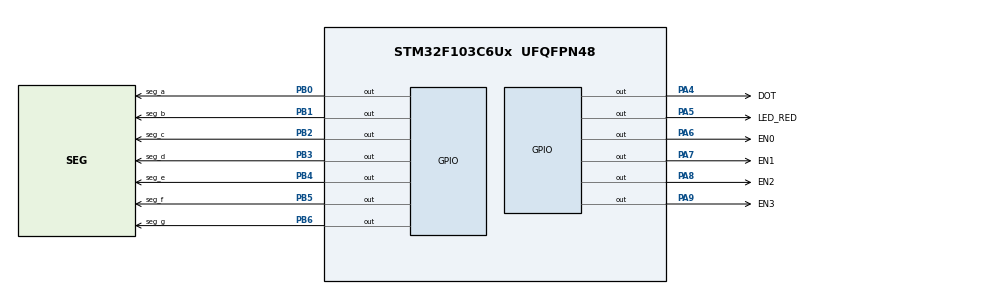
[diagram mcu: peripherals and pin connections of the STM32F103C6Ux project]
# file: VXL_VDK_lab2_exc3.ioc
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Mcu.Family=STM32F1
Mcu.Name=STM32F103C6Ux
Mcu.Package=UFQFPN48
NVIC.PriorityGroup=NVIC_PRIORITYGROUP_4
NVIC.TIM2_IRQn=true\:0\:0\:false\:false\:true\:true\:true\:true
PA4.GPIO_Label=DOT
PA4.Signal=GPIO_Output
PA5.GPIO_Label=LED_RED
PA5.Signal=GPIO_Output
PA6.GPIO_Label=EN0
PA6.Signal=GPIO_Output
PA7.GPIO_Label=EN1
PA7.Signal=GPIO_Output
PA8.GPIO_Label=EN2
PA8.Signal=GPIO_Output
PA9.GPIO_Label=EN3
PA9.Signal=GPIO_Output
PB0.GPIO_Label=seg_a
PB0.Signal=GPIO_Output
PB1.GPIO_Label=seg_b
PB1.Signal=GPIO_Output
PB2.GPIO_Label=seg_c
PB2.Signal=GPIO_Output
PB3.GPIO_Label=seg_d
PB3.Signal=GPIO_Output
PB4.GPIO_Label=seg_e
PB4.Signal=GPIO_Output
PB5.GPIO_Label=seg_f
PB5.Signal=GPIO_Output
PB6.GPIO_Label=seg_g
PB6.Signal=GPIO_Output
ProjectManager.HeapSize=0x200
ProjectManager.StackSize=0x400
ProjectManager.TargetToolchain=STM32CubeIDE
RCC.APB1Freq_Value=8000000
RCC.APB2Freq_Value=8000000
TIM2.Period=9
TIM2.Prescaler=7999
VP_SYS_VS_ND.Mode=No_Debug
VP_TIM2_VS_ClockSourceINT.Mode=Internal
board=custom

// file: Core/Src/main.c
/* USER CODE BEGIN Header */
/**
  ******************************************************************************
  * @file           : main.c
  * @brief          : Main program body
  ******************************************************************************
  * @attention
  *
  * Copyright (c) 2025 STMicroelectronics.
  * All rights reserved.
  *
  * This software is licensed under terms that can be found in the LICENSE file
  * in the root directory of this software component.
  * If no LICENSE file comes with this software, it is provided AS-IS.
  *
  ******************************************************************************
  */
/* USER CODE END Header */
#include "main.h"
#include "tim.h"
#include "gpio.h"

void SystemClock_Config(void);

/* USER CODE BEGIN 0 */

int led_buffer[4] = {0, 0, 0, 0};
uint8_t led7_table[10][7] =    {{0,0,0,0,0,0,1},
								{1,0,0,1,1,1,1},
								{0,0,1,0,0,1,0},
								{0,0,0,0,1,1,0},
								{1,0,0,1,1,0,0},
								{0,1,0,0,1,0,0},
								{0,1,0,0,0,0,0},
								{0,0,0,1,1,1,1},
								{0,0,0,0,0,0,0},
								{0,0,0,0,1,0,0}};
uint16_t EN_PIN[4] = {
    EN0_Pin,
    EN1_Pin,
    EN2_Pin,
    EN3_Pin,
};
void display7SEG(int num,int led){
	HAL_GPIO_WritePin(EN0_GPIO_Port, EN_PIN[0], SET);
	HAL_GPIO_WritePin(EN0_GPIO_Port, EN_PIN[1], SET);
	HAL_GPIO_WritePin(EN0_GPIO_Port, EN_PIN[2], SET);
	HAL_GPIO_WritePin(EN0_GPIO_Port, EN_PIN[3], SET);

	HAL_GPIO_WritePin(seg_a_GPIO_Port, seg_a_Pin, led7_table[num][0]);
	HAL_GPIO_WritePin(seg_b_GPIO_Port, seg_b_Pin, led7_table[num][1]);
	HAL_GPIO_WritePin(seg_c_GPIO_Port, seg_c_Pin, led7_table[num][2]);
	HAL_GPIO_WritePin(seg_g_GPIO_Port, seg_d_Pin, led7_table[num][3]);
	HAL_GPIO_WritePin(seg_f_GPIO_Port, seg_e_Pin, led7_table[num][4]);
	HAL_GPIO_WritePin(seg_e_GPIO_Port, seg_f_Pin, led7_table[num][5]);
	HAL_GPIO_WritePin(seg_d_GPIO_Port, seg_g_Pin, led7_table[num][6]);
	HAL_GPIO_WritePin(EN0_GPIO_Port, EN_PIN[led], RESET);
}

int LED_RED_cnt = 0;
int seg_cnt = 0;
int seg_idx = 0;
int my_cnt = 0;

 void update7SEG(int index){
    switch (index){
        case 0:
        	display7SEG(led_buffer[0],0);
            break;
        case 1:
        	display7SEG(led_buffer[1],1);
            break;
        case 2:
        	display7SEG(led_buffer[2],2);
            break;
        case 3:
        	display7SEG(led_buffer[3],3);
            break;
        default:
            break;
    }
}
 void HAL_TIM_PeriodElapsedCallback(TIM_HandleTypeDef *htim)
  {
 	 ++LED_RED_cnt;
 	 ++seg_cnt;
 	 ++my_cnt;
 	  if(seg_cnt >=13){
 		  seg_cnt = 0;
 		  update7SEG(seg_idx++);
 		  HAL_GPIO_TogglePin(DOT_GPIO_Port, DOT_Pin);
 	  }
 	  if(seg_idx>3) seg_idx = 0;
 	  if(my_cnt>=59){
 		  my_cnt =0;
 		  ++led_buffer[3];

 	  }
 	  if(led_buffer[3]>9){
 		  led_buffer[3] = 0;
 		  ++led_buffer[2];
 	  }
 	  if(led_buffer[2]>9){
 		  led_buffer[2] = 0;
 		  ++led_buffer[1];
 	  }
 	  if(led_buffer[1]>9){
 		  led_buffer[1] = 0;
 		  ++led_buffer[0];
 	  }
 	  if(led_buffer[0]>9){
 		  led_buffer[0] = 0;
 	  }
 	  if(LED_RED_cnt >= 100){
 		  LED_RED_cnt = 0;
 		  HAL_GPIO_TogglePin(LED_RED_GPIO_Port, LED_RED_Pin);

 	  }

  }

/* USER CODE END 0 */

int main(void)
{

  /* MCU Configuration--------------------------------------------------------*/

  /* Reset of all peripherals, Initializes the Flash interface and the Systick. */
  HAL_Init();

  /* Configure the system clock */
  SystemClock_Config();

  /* Initialize all configured peripherals */
  MX_GPIO_Init();
  MX_TIM2_Init();
  /* USER CODE BEGIN 2 */
  HAL_TIM_Base_Start_IT(&htim2);
  HAL_GPIO_WritePin(LED_RED_GPIO_Port, LED_RED_Pin, RESET);
  HAL_GPIO_WritePin(DOT_GPIO_Port, DOT_Pin, RESET);
  update7SEG(seg_idx++);
  /* USER CODE END 2 */

  /* Infinite loop */
  while (1)
  {

  }
}

void SystemClock_Config(void)
{
  RCC_OscInitTypeDef RCC_OscInitStruct = {0};
  RCC_ClkInitTypeDef RCC_ClkInitStruct = {0};

  /** Initializes the RCC Oscillators according to the specified parameters
  * in the RCC_OscInitTypeDef structure.
  */
  RCC_OscInitStruct.OscillatorType = RCC_OSCILLATORTYPE_HSI;
  RCC_OscInitStruct.HSIState = RCC_HSI_ON;
  RCC_OscInitStruct.HSICalibrationValue = RCC_HSICALIBRATION_DEFAULT;
  RCC_OscInitStruct.PLL.PLLState = RCC_PLL_NONE;
  if (HAL_RCC_OscConfig(&RCC_OscInitStruct) != HAL_OK)
  {
    Error_Handler();
  }

  /** Initializes the CPU, AHB and APB buses clocks
  */
  RCC_ClkInitStruct.ClockType = RCC_CLOCKTYPE_HCLK|RCC_CLOCKTYPE_SYSCLK
                              |RCC_CLOCKTYPE_PCLK1|RCC_CLOCKTYPE_PCLK2;
  RCC_ClkInitStruct.SYSCLKSource = RCC_SYSCLKSOURCE_HSI;
  RCC_ClkInitStruct.AHBCLKDivider = RCC_SYSCLK_DIV1;
  RCC_ClkInitStruct.APB1CLKDivider = RCC_HCLK_DIV1;
  RCC_ClkInitStruct.APB2CLKDivider = RCC_HCLK_DIV1;

  if (HAL_RCC_ClockConfig(&RCC_ClkInitStruct, FLASH_LATENCY_0) != HAL_OK)
  {
    Error_Handler();
  }
}

void Error_Handler(void)
{
  __disable_irq();
  while (1)
  {
  }
}
